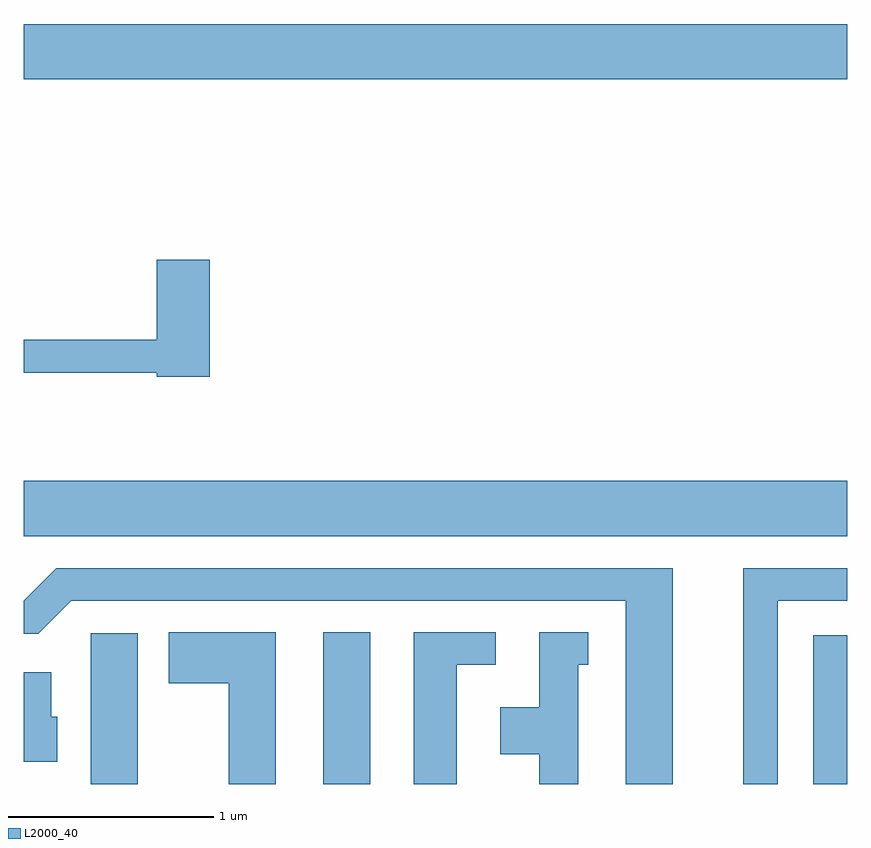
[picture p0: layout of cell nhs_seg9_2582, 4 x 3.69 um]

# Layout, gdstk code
import gdstk
lib = gdstk.Library(unit=1e-6, precision=1e-09)
def R(c, l, rs):  # rectangles x0, y0, x1, y1
    for r in rs: c.add(gdstk.rectangle(r[:2], r[2:], *l))
def P(c, l, *ps):  # polygons
    for p in ps: c.add(gdstk.Polygon(p, *l))
L2000_40 = (2000, 40)

nhs_seg9_2582 = lib.new_cell('nhs_seg9_2582')
R(nhs_seg9_2582, L2000_40, [(261.936,1948.432,262.164,1949.164), (263.066,1948.432,263.294,1949.169), (265.446,1948.432,265.611,1949.154), (261.611,1949.636,265.611,1949.904), (261.611,1951.856,265.611,1952.124)])
P(nhs_seg9_2582, L2000_40, [(262.514,1950.979),(262.256,1950.979),(262.256,1950.589),(261.611,1950.589),(261.611,1950.431),(262.256,1950.431),(262.256,1950.411),(262.514,1950.411)],
  [(265.274,1949.321),(265.611,1949.321),(265.611,1949.479),(265.106,1949.479),(265.106,1948.432),(265.274,1948.432)],
  [(264.764,1949.479),(261.769,1949.479),(261.611,1949.321),(261.611,1949.161),(261.682,1949.161),(261.842,1949.321),(264.536,1949.321),(264.536,1948.432),(264.764,1948.432)],
  [(263.714,1949.011),(263.903,1949.011),(263.903,1949.169),(263.506,1949.169),(263.506,1948.432),(263.714,1948.432)],
  [(262.834,1949.169),(262.316,1949.169),(262.316,1948.921),(262.606,1948.921),(262.606,1948.432),(262.834,1948.432)],
  [(264.304,1949.011),(264.353,1949.011),(264.353,1949.169),(264.116,1949.169),(264.116,1948.804),(263.926,1948.804),(263.926,1948.576),(264.116,1948.576),(264.116,1948.432),(264.304,1948.432)],
  [(261.774,1948.759),(261.744,1948.759),(261.744,1948.974),(261.611,1948.974),(261.611,1948.541),(261.774,1948.541)])

lib.write_gds('nhs_seg9_2582.gds')
